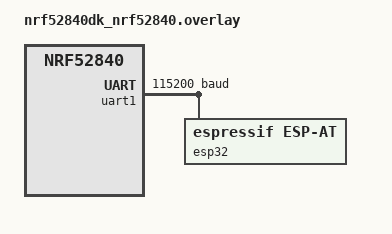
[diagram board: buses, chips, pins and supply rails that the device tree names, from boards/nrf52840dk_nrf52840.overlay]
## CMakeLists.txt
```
# SPDX-License-Identifier: Apache-2.0

cmake_minimum_required(VERSION 3.20.0)
find_package(Zephyr REQUIRED HINTS $ENV{ZEPHYR_BASE})
project(smartmetet_receive_bt2wifi)

target_sources(app PRIVATE
	src/api.c
	src/main.c
)

zephyr_library_include_directories(${ZEPHYR_BASE}/samples/bluetooth)
```

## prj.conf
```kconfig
CONFIG_LOG=y
CONFIG_LOG_PRINTK=y
CONFIG_APP_LOG_LEVEL_DBG=y

CONFIG_SHELL=y
CONFIG_NET_SHELL=y
CONFIG_NET_L2_WIFI_SHELL=y

CONFIG_FLASH=y
CONFIG_FLASH_MAP=y
CONFIG_NVS=y
CONFIG_SETTINGS=y
CONFIG_SETTINGS_NVS=y

CONFIG_BT=y
CONFIG_BT_OBSERVER=y
CONFIG_BT_EXT_ADV=y
CONFIG_BT_CTLR_PHY_CODED=y
CONFIG_BT_CTLR_SCAN_DATA_LEN_MAX=64

CONFIG_WIFI=y
CONFIG_NETWORKING=y
CONFIG_NET_IPV4=y
CONFIG_NET_TCP=y
CONFIG_NET_SOCKETS=y
CONFIG_NET_MAX_CONTEXTS=2
CONFIG_NET_PKT_TX_COUNT=5
CONFIG_POSIX_API=y

CONFIG_NULL_POINTER_EXCEPTION_DETECTION_MPU=y
CONFIG_MPU_STACK_GUARD=y

CONFIG_COMPILER_OPT="-Werror"
CONFIG_DEBUG_THREAD_INFO=y
```

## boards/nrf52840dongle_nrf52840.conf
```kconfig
CONFIG_USB_DEVICE_STACK=y
CONFIG_USB_DEVICE_PRODUCT="bt2wifi"
CONFIG_USB_DRIVER_LOG_LEVEL_ERR=y
CONFIG_USB_DEVICE_LOG_LEVEL_ERR=y
CONFIG_SERIAL=y
CONFIG_UART_INTERRUPT_DRIVEN=y
CONFIG_UART_LINE_CTRL=y
```

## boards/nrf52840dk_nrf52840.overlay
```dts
&uart1 {
	status = "okay";
	current-speed = <115200>;

	esp32 {
		compatible = "espressif,esp-at";
		status = "okay";
	};
};
```

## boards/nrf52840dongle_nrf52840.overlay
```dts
/ {
	chosen {
		zephyr,console = &cdc_acm_uart0;
		zephyr,shell-uart = &cdc_acm_uart0;
		zephyr,uart-mcumgr = &cdc_acm_uart0;
		zephyr,bt-mon-uart = &cdc_acm_uart0;
		zephyr,bt-c2h-uart = &cdc_acm_uart0;
	};
};

&zephyr_udc0 {
	cdc_acm_uart0: cdc_acm_uart0 {
		compatible = "zephyr,cdc-acm-uart";
	};
};

&uart0 {
	status = "okay";
	current-speed = <115200>;

	esp32 {
		compatible = "espressif,esp-at";
		status = "okay";
	};
};
```

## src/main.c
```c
#include <stddef.h>
#include <stdlib.h>
#include <zephyr/bluetooth/bluetooth.h>
#include <zephyr/bluetooth/hci.h>
#include <zephyr/settings/settings.h>
#include <zephyr/shell/shell.h>
#include <zephyr/sys/printk.h>
#include <zephyr/sys/util.h>
#include <zephyr/types.h>

#ifdef CONFIG_USB_DEVICE_STACK
#include <zephyr/usb/usb_device.h>
#endif

#ifdef CONFIG_WIFI
#include <zephyr/net/wifi_mgmt.h>
#endif

#include "main.h"

#include <zephyr/logging/log.h>
LOG_MODULE_REGISTER(receive_bt2wifi, CONFIG_APP_LOG_LEVEL);

#ifdef CONFIG_WIFI
struct wifi_settings {
	uint8_t ssid[WIFI_SSID_MAX_LEN];
	uint8_t ssid_length;

	uint8_t psk[WIFI_PSK_MAX_LEN];
	uint8_t psk_length;

	uint8_t band;
	uint8_t channel;
	enum wifi_security_type security;
	enum wifi_mfp_options mfp;
	int timeout;
};

static void wifi_connect_cb(struct k_work *work);

static struct net_mgmt_event_callback mgmt_cb;

static struct wifi_settings g_tmp_settings = { 0 };

static uint8_t g_ssid[WIFI_SSID_MAX_LEN];
static uint8_t g_psk[WIFI_PSK_MAX_LEN];
static struct wifi_connect_req_params g_wifi_connect_params;
static bool g_wifi_connect_params_valid = false;

static K_WORK_DELAYABLE_DEFINE(wifi_connect_work, wifi_connect_cb);
#endif

static bool data_cb(struct bt_data *data, void *user_data)
{
	const bt_addr_le_t *addr = user_data;

	(void)(addr);

	LOG_INF("AD type %u", data->type);
	LOG_HEXDUMP_DBG(data->data, data->data_len, "value");

#ifdef CONFIG_WIFI
	main_api_send(addr, data->data, data->data_len);
#endif

	return true;
}
static void scan_cb(const bt_addr_le_t *addr, int8_t rssi, uint8_t adv_type,
		    struct net_buf_simple *buf)
{
	if (adv_type != BT_GAP_ADV_TYPE_EXT_ADV) {
		return;
	}

	char le_addr[BT_ADDR_LE_STR_LEN];
	bt_addr_le_to_str(addr, le_addr, sizeof(le_addr));

	LOG_INF("[DEVICE]: %s, AD evt type %u, RSSI %i", le_addr, adv_type, rssi);
	bt_data_parse(buf, data_cb, (void *)addr);
}

#ifdef CONFIG_WIFI
static void wifi_connect(void)
{
	struct net_if *iface = net_if_get_default();

	if (!g_wifi_connect_params_valid) {
		LOG_ERR("no wifi settings available");
		return;
	}

	LOG_HEXDUMP_DBG(g_wifi_connect_params.ssid, g_wifi_connect_params.ssid_length, "ssid");
	//LOG_HEXDUMP_DBG(g_wifi_connect_params.psk, g_wifi_connect_params.psk_length, "psk");

	LOG_DBG("ssid_len=%zu psk_len=%zu band=%u channel=%u security=%u mfp=%u timeout=%d",
		g_wifi_connect_params.ssid_length, g_wifi_connect_params.psk_length,
		g_wifi_connect_params.band, g_wifi_connect_params.channel,
		g_wifi_connect_params.security, g_wifi_connect_params.mfp,
		g_wifi_connect_params.timeout);

	int ret = net_mgmt(NET_REQUEST_WIFI_CONNECT, iface, &g_wifi_connect_params,
			   sizeof(g_wifi_connect_params));
	if (ret) {
		// the iface may not be online, yet
		LOG_ERR("wifi connect request failed: %d", ret);

		if (ret != -EALREADY) {
			k_work_schedule(&wifi_connect_work, K_SECONDS(1));
		}
		return;
	}

	LOG_INF("wifi connect request sent");
}

static void wifi_connect_cb(struct k_work *work)
{
	wifi_connect();
}

static void schedule_wifi_connect(void)
{
	k_work_schedule(&wifi_connect_work, K_SECONDS(10));
}

static void handle_wifi_connect_result(struct net_mgmt_event_callback *cb)
{
	const struct wifi_status *status = (const struct wifi_status *)cb->info;

	if (status->status) {
		LOG_ERR("event: connection request failed: %d", status->status);
		schedule_wifi_connect();
	} else {
		LOG_INF("event: wifi connected");
	}
}

static void handle_wifi_disconnect_result(struct net_mgmt_event_callback *cb)
{
	const struct wifi_status *status = (const struct wifi_status *)cb->info;

	LOG_INF("Disconnected. status: %d", status->status);
	schedule_wifi_connect();
}

static void wifi_mgmt_event_handler(struct net_mgmt_event_callback *cb, uint32_t mgmt_event,
				    struct net_if *iface)
{
	switch (mgmt_event) {
	case NET_EVENT_WIFI_CONNECT_RESULT:
		handle_wifi_connect_result(cb);
		break;
	case NET_EVENT_WIFI_DISCONNECT_RESULT:
		handle_wifi_disconnect_result(cb);
		break;
	default:
		break;
	}
}

static void wifi_init(void)
{
	net_mgmt_init_event_callback(&mgmt_cb, wifi_mgmt_event_handler,
				     NET_EVENT_WIFI_CONNECT_RESULT |
					     NET_EVENT_WIFI_DISCONNECT_RESULT);
	net_mgmt_add_event_callback(&mgmt_cb);
}

static void wifi_apply_settings(const struct wifi_settings *settings)
{
	memcpy(g_ssid, settings->ssid, settings->ssid_length);
	memcpy(g_psk, settings->psk, settings->psk_length);
	g_wifi_connect_params = (struct wifi_connect_req_params){
		.ssid = g_ssid,
		.ssid_length = settings->ssid_length,

		.psk = g_psk,
		.psk_length = settings->psk_length,

		.band = settings->band,
		.channel = settings->channel,
		.security = settings->security,
		.mfp = settings->mfp,
		.timeout = settings->timeout,
	};
	g_wifi_connect_params_valid = true;
}
#endif

#ifdef CONFIG_USB_DEVICE_STACK
static void init_usb(void)
{
	const struct device *dev;
	int ret;

	dev = DEVICE_DT_GET_ONE(zephyr_cdc_acm_uart);
	if (!device_is_ready(dev)) {
		LOG_ERR("CDC ACM device not ready");
		return;
	}

	ret = usb_enable(NULL);
	if (ret != 0) {
		LOG_ERR("Failed to enable USB");
		return;
	}
}
#endif

static int handle_set(const char *name, size_t len, settings_read_cb read_cb, void *cb_arg)
{
	const char *next;
	int rc;

	(void)(next);
	(void)(rc);

#ifdef CONFIG_WIFI
	if (settings_name_steq(name, "wifi", &next) && !next) {
		if (len != sizeof(g_tmp_settings)) {
			return -EINVAL;
		}

		rc = read_cb(cb_arg, &g_tmp_settings, sizeof(g_tmp_settings));
		if (rc < 0) {
			return rc;
		}

		if (g_tmp_settings.ssid_length > sizeof(g_tmp_settings.ssid) ||
		    g_tmp_settings.psk_length > sizeof(g_tmp_settings.psk)) {
			return -EINVAL;
		}

		LOG_INF("loaded wifi settings.");
		wifi_apply_settings(&g_tmp_settings);

		return 0;
	}
#endif

	return -ENOENT;
}
SETTINGS_STATIC_HANDLER_DEFINE(app_bt, "app", NULL, handle_set, NULL, NULL);

#ifdef CONFIG_WIFI
static int wifi_args_to_settings(size_t argc, char *argv[], struct wifi_settings *params)
{
	char *endptr;
	int idx = 1;

	if (argc < 1) {
		return -EINVAL;
	}

	/* SSID */
	const char *ssid = argv[0];
	size_t ssid_length = strlen(ssid);
	if (ssid_length > sizeof(params->ssid)) {
		return -EINVAL;
	}

	memcpy(params->ssid, ssid, ssid_length);
	params->ssid_length = ssid_length;

	/* channel (optional) */
	if ((idx < argc) && (strlen(argv[idx]) <= 3)) {
		params->channel = strtol(argv[idx], &endptr, 10);
		if (*endptr != '\0') {
			return -EINVAL;
		}

		if (params->channel == 0u) {
			params->channel = WIFI_CHANNEL_ANY;
		}

		idx++;
	} else {
		params->channel = WIFI_CHANNEL_ANY;
	}

	/* psk (optional) */
	if (idx < argc) {
		const char *psk = argv[idx];
		size_t psk_length = strlen(psk);
		if (psk_length > sizeof(params->psk)) {
			return -EINVAL;
		}

		memcpy(params->psk, psk, psk_length);
		params->psk_length = psk_length;

		params->security = WIFI_SECURITY_TYPE_PSK;
		idx++;

		/* security type (optional) */
		if (idx < argc) {
			unsigned int security = strtol(argv[idx], &endptr, 10);

			if (security <= WIFI_SECURITY_TYPE_MAX) {
				params->security = security;
			}
			idx++;
		}
	} else {
		params->security = WIFI_SECURITY_TYPE_NONE;
	}

	/* MFP (optional) */
	params->mfp = WIFI_MFP_OPTIONAL;
	if (idx < argc) {
		unsigned int mfp = strtol(argv[idx], &endptr, 10);

		if (mfp <= WIFI_MFP_REQUIRED) {
			params->mfp = mfp;
		}
		idx++;
	}

	return 0;
}

static int cmd_set_wifi(const struct shell *sh, size_t argc, char *argv[])
{
	if (wifi_args_to_settings(argc - 1, &argv[1], &g_tmp_settings)) {
		shell_help(sh);
		return -ENOEXEC;
	}

	int ret = settings_save_one("app/wifi", &g_tmp_settings, sizeof(g_tmp_settings));
	if (ret) {
		LOG_ERR("failed to save wifi settings: %d", ret);
		return ret;
	}

	shell_fprintf(sh, SHELL_NORMAL, "wifi settings stored\n");

	wifi_apply_settings(&g_tmp_settings);
	k_work_schedule(&wifi_connect_work, K_SECONDS(1));

	return 0;
}
#endif

SHELL_STATIC_SUBCMD_SET_CREATE(app_commands,
#ifdef CONFIG_WIFI
			       SHELL_CMD(set_wifi, NULL,
					 "Set Wi-Fi credentials"
					 "\"<SSID>\"\n<channel number (optional), "
					 "0 means all>\n"
					 "<PSK (optional: valid only for secure SSIDs)>\n"
					 "<Security type (optional: valid only for secure SSIDs)>\n"
					 "0:None, 1:PSK, 2:PSK-256, 3:SAE\n"
					 "<MFP (optional): 0:Disable, 1:Optional, 2:Required",
					 cmd_set_wifi),
#endif
			       SHELL_SUBCMD_SET_END);
SHELL_CMD_REGISTER(app, &app_commands, "App commands", NULL);

int main(void)
{
	int ret;

#ifdef CONFIG_USB_DEVICE_STACK
	init_usb();
#endif

	LOG_INF("start main app");

	ret = settings_subsys_init();
	if (ret) {
		LOG_ERR("failed to init settings subsys: %d", ret);
		return ret;
	}

	ret = settings_load();
	if (ret) {
		LOG_ERR("failed to load settings: %d", ret);
		return ret;
	}

#ifdef CONFIG_WIFI
	LOG_INF("wait for wifi iface ...");

	struct net_if *iface = net_if_get_default();
	while (!net_if_is_up(iface)) {
		k_sleep(K_MSEC(500));
	}
	LOG_INF("default interface is now up");

	wifi_init();
	wifi_connect();

	ret = main_api_init();
	if (ret) {
		LOG_ERR("failed to init main API: %d", ret);
		return ret;
	}
#endif

	struct bt_le_scan_param scan_param = {
		.type = BT_HCI_LE_SCAN_PASSIVE,
		.options = BT_LE_SCAN_OPT_CODED | BT_LE_SCAN_OPT_NO_1M,
		.interval = BT_GAP_SCAN_FAST_INTERVAL,
		.window = BT_GAP_SCAN_FAST_WINDOW,
	};

	LOG_INF("Starting Scanner/Advertiser Demo");

	/* Initialize the Bluetooth Subsystem */
	ret = bt_enable(NULL);
	if (ret) {
		LOG_ERR("Bluetooth init failed: %d", ret);
		return ret;
	}

	LOG_INF("Bluetooth initialized");

	ret = bt_le_scan_start(&scan_param, scan_cb);
	if (ret) {
		LOG_ERR("Starting scanning failed: %d", ret);
		return ret;
	}

	return 0;
}
```

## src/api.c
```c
#include <stdio.h>
#include <zephyr/net/net_context.h>
#include <zephyr/net/socket.h>
#include <zephyr/net_buf.h>
#include <zephyr/posix/arpa/inet.h>

#include <zephyr/logging/log.h>
LOG_MODULE_REGISTER(main_api, CONFIG_APP_LOG_LEVEL);

#include "main.h"

struct apiserver {
	int socket;
	struct net_context *udp_ctx;
	uint8_t sendbuf[1024];
};

static struct apiserver g_apiserver = { 0 };

static void udp_sent(struct net_context *context, int status, void *user_data)
{
	ARG_UNUSED(context);
	ARG_UNUSED(status);
	ARG_UNUSED(user_data);

	LOG_INF("Message sent");
}

void main_api_send(const bt_addr_le_t *addr, const void *data, size_t data_len)
{
	struct net_buf_simple buf = {
		.data = &g_apiserver.sendbuf[0],
		.len = 0,
		.size = sizeof(g_apiserver.sendbuf),
		.__buf = &g_apiserver.sendbuf[0],
	};

	if (!g_apiserver.udp_ctx) {
		return;
	}

	if (net_buf_simple_tailroom(&buf) < sizeof(uint8_t)) {
		LOG_WRN("not enough space for address type");
		return;
	}
	net_buf_simple_add_u8(&buf, addr->type);

	if (net_buf_simple_tailroom(&buf) < sizeof(addr->a.val)) {
		LOG_WRN("not enough space for address");
		return;
	}
	net_buf_simple_add_mem(&buf, addr->a.val, sizeof(addr->a.val));

	if (net_buf_simple_tailroom(&buf) < data_len) {
		LOG_WRN("not enough space for address data");
		return;
	}
	net_buf_simple_add_mem(&buf, data, data_len);

	LOG_INF("send data to client");

	struct sockaddr_in sockaddr = {
		.sin_family = AF_INET,
		.sin_port = htons(8888),
	};
	inet_pton(AF_INET, "192.168.46.1", &sockaddr.sin_addr);

	int ret = net_context_sendto(g_apiserver.udp_ctx, buf.data, buf.len,
				     (const struct sockaddr *)&sockaddr, sizeof(sockaddr), udp_sent,
				     K_NO_WAIT, NULL);
	if (ret != buf.len) {
		LOG_WRN("failed to send: %d", ret);
		return;
	}
}

int main_api_init(void)
{
	struct net_if *iface = net_if_get_default();
	if (!iface) {
		LOG_ERR("no default interface");
		return -ENOENT;
	}

	int ret = net_context_get(AF_INET, SOCK_DGRAM, IPPROTO_UDP, &g_apiserver.udp_ctx);
	if (ret) {
		LOG_ERR("failed to create net context %d", ret);
		return ret;
	}

	net_context_set_iface(g_apiserver.udp_ctx, iface);

	LOG_INF("API client initialized");

	return 0;
}
```

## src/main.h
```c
#ifndef MAIN_H
#define MAIN_H

#include <zephyr/bluetooth/addr.h>

int main_api_init(void);
void main_api_send(const bt_addr_le_t *addr, const void *data, size_t len);

#endif /* MAIN_H */
```
